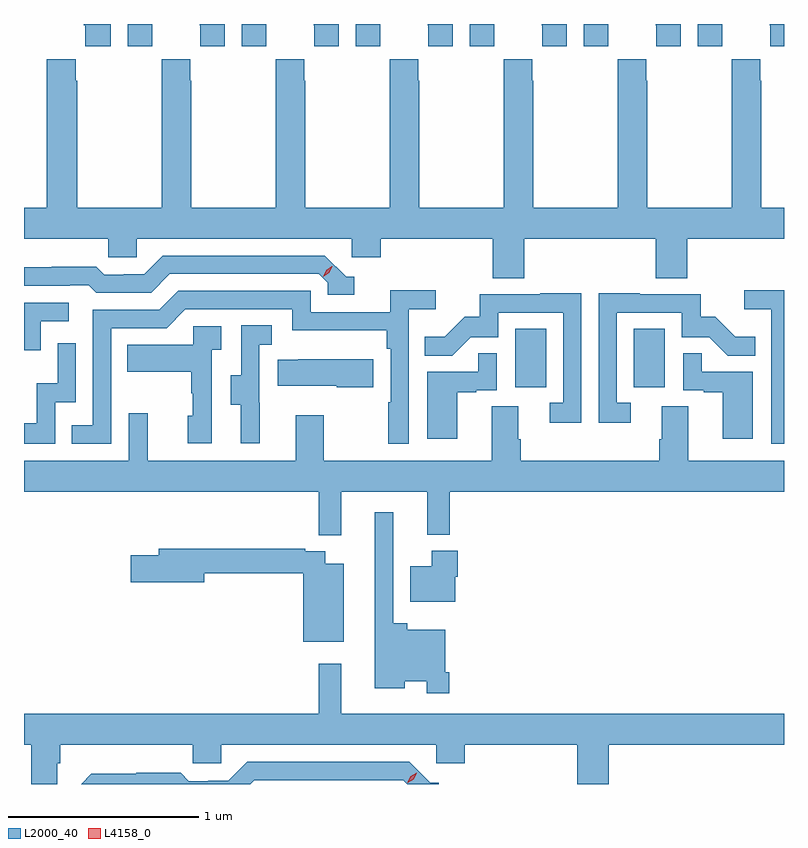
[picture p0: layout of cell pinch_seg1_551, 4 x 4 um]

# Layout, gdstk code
import gdstk
lib = gdstk.Library(unit=1e-6, precision=1e-09)
def R(c, l, rs):  # rectangles x0, y0, x1, y1
    for r in rs: c.add(gdstk.rectangle(r[:2], r[2:], *l))
def P(c, l, *ps):  # polygons
    for p in ps: c.add(gdstk.Polygon(p, *l))
L2000_40 = (2000, 40)
L4158_0 = (4158, 0)

pinch_seg1_551 = lib.new_cell('pinch_seg1_551')
R(pinch_seg1_551, L2000_40, [(1031.384,540.294,1031.548,540.601), (1032.008,540.294,1032.172,540.601)])
P(pinch_seg1_551, L2000_40, [(1032.799,542.206),(1032.725,542.206),(1032.725,542.2),(1032.726,542.2),(1032.726,542.088),(1032.799,542.088)],
  [(1032.474,542.2),(1032.475,542.2),(1032.475,542.206),(1032.344,542.206),(1032.344,542.088),(1032.474,542.088)],
  [(1032.256,542.206),(1032.125,542.206),(1032.125,542.2),(1032.126,542.2),(1032.126,542.088),(1032.256,542.088)],
  [(1031.874,542.2),(1031.875,542.2),(1031.875,542.206),(1031.744,542.206),(1031.744,542.088),(1031.874,542.088)],
  [(1031.656,542.206),(1031.525,542.206),(1031.525,542.2),(1031.526,542.2),(1031.526,542.088),(1031.656,542.088)],
  [(1031.274,542.2),(1031.275,542.2),(1031.275,542.206),(1031.144,542.206),(1031.144,542.088),(1031.274,542.088)],
  [(1031.056,542.206),(1030.925,542.206),(1030.925,542.2),(1030.926,542.2),(1030.926,542.088),(1031.056,542.088)],
  [(1030.674,542.2),(1030.675,542.2),(1030.675,542.206),(1030.544,542.206),(1030.544,542.088),(1030.674,542.088)],
  [(1030.456,542.206),(1030.325,542.206),(1030.325,542.2),(1030.326,542.2),(1030.326,542.088),(1030.456,542.088)],
  [(1029.256,542.206),(1029.113,542.206),(1029.113,542.2),(1029.122,542.2),(1029.122,542.088),(1029.256,542.088)],
  [(1029.474,542.2),(1029.475,542.2),(1029.475,542.206),(1029.344,542.206),(1029.344,542.088),(1029.474,542.088)],
  [(1029.856,542.206),(1029.725,542.206),(1029.725,542.2),(1029.726,542.2),(1029.726,542.088),(1029.856,542.088)],
  [(1030.074,542.2),(1030.075,542.2),(1030.075,542.206),(1029.944,542.206),(1029.944,542.088),(1030.074,542.088)],
  [(1031.432,541.076),(1032.125,541.076),(1032.125,540.868),(1032.29,540.868),(1032.29,541.076),(1032.799,541.076),(1032.799,541.24),(1032.678,541.24),(1032.678,541.907),(1032.675,541.907),(1032.675,542.02),(1032.525,542.02),(1032.525,541.907),(1032.523,541.907),(1032.523,541.24),(1032.078,541.24),(1032.078,541.907),(1032.075,541.907),(1032.075,542.02),(1031.925,542.02),(1031.925,541.907),(1031.923,541.907),(1031.923,541.24),(1031.478,541.24),(1031.478,541.907),(1031.475,541.907),(1031.475,542.02),(1031.325,542.02),(1031.325,541.907),(1031.323,541.907),(1031.323,541.24),(1030.878,541.24),(1030.878,541.907),(1030.875,541.907),(1030.875,542.02),(1030.725,542.02),(1030.725,541.907),(1030.723,541.907),(1030.723,541.24),(1030.278,541.24),(1030.278,541.907),(1030.275,541.907),(1030.275,542.02),(1030.125,542.02),(1030.125,541.907),(1030.123,541.907),(1030.123,541.24),(1029.678,541.24),(1029.678,541.907),(1029.675,541.907),(1029.675,542.02),(1029.525,542.02),(1029.525,541.907),(1029.523,541.907),(1029.523,541.24),(1029.078,541.24),(1029.078,541.907),(1029.071,541.907),(1029.071,542.02),(1028.918,542.02),(1028.918,541.24),(1028.799,541.24),(1028.799,541.076),(1029.243,541.076),(1029.243,540.978),(1029.393,540.978),(1029.393,541.076),(1030.524,541.076),(1030.524,540.978),(1030.676,540.978),(1030.676,541.076),(1031.267,541.076),(1031.267,540.868),(1031.432,540.868)],
  [(1030.537,540.876),(1030.494,540.876),(1030.383,540.987),(1029.53,540.987),(1029.431,540.888),(1029.324,540.888),(1029.324,540.885),(1029.221,540.885),(1029.179,540.928),(1028.946,540.928),(1028.946,540.925),(1028.799,540.925),(1028.799,540.828),(1029.041,540.828),(1029.041,540.831),(1029.14,540.831),(1029.179,540.792),(1029.468,540.792),(1029.567,540.891),(1030.35,540.891),(1030.398,540.843),(1030.398,540.78),(1030.537,540.78)],
  [(1032.799,540.806),(1032.591,540.806),(1032.591,540.704),(1032.732,540.704),(1032.732,539.997),(1032.799,539.997)],
  [(1029.258,540.606),(1029.549,540.606),(1029.648,540.705),(1030.212,540.705),(1030.212,540.593),(1030.708,540.593),(1030.708,540.497),(1030.728,540.497),(1030.728,540.215),(1030.716,540.215),(1030.716,539.997),(1030.824,539.997),(1030.824,540.704),(1030.966,540.704),(1030.966,540.806),(1030.727,540.806),(1030.727,540.69),(1030.308,540.69),(1030.308,540.801),(1029.611,540.801),(1029.512,540.702),(1029.162,540.702),(1029.162,540.093),(1029.049,540.093),(1029.049,539.997),(1029.258,539.997)],
  [(1031.733,540.788),(1031.515,540.788),(1031.515,540.783),(1031.197,540.783),(1031.197,540.666),(1031.12,540.666),(1031.013,540.559),(1030.909,540.559),(1030.909,540.46),(1031.053,540.46),(1031.151,540.558),(1031.295,540.558),(1031.295,540.687),(1031.637,540.687),(1031.637,540.213),(1031.565,540.213),(1031.565,540.108),(1031.733,540.108)],
  [(1031.992,540.213),(1031.919,540.213),(1031.919,540.687),(1032.261,540.687),(1032.261,540.558),(1032.405,540.558),(1032.503,540.46),(1032.647,540.46),(1032.647,540.559),(1032.543,540.559),(1032.436,540.666),(1032.36,540.666),(1032.36,540.783),(1032.041,540.783),(1032.041,540.788),(1031.823,540.788),(1031.823,540.108),(1031.992,540.108)],
  [(1028.886,540.642),(1029.034,540.642),(1029.034,540.738),(1028.799,540.738),(1028.799,540.489),(1028.886,540.489)],
  [(1030.04,540.213),(1030.038,540.213),(1030.038,540.517),(1030.102,540.517),(1030.102,540.62),(1029.942,540.62),(1029.942,540.357),(1029.887,540.357),(1029.887,540.202),(1029.941,540.202),(1029.941,540),(1030.04,540)],
  [(1029.786,540.491),(1029.838,540.491),(1029.838,540.615),(1029.69,540.615),(1029.69,540.517),(1029.343,540.517),(1029.343,540.377),(1029.678,540.377),(1029.678,540.263),(1029.688,540.263),(1029.688,540.144),(1029.662,540.144),(1029.662,540),(1029.786,540)],
  [(1028.964,540.216),(1029.072,540.216),(1029.072,540.526),(1028.976,540.526),(1028.976,540.314),(1028.867,540.314),(1028.867,540.106),(1028.799,540.106),(1028.799,539.997),(1028.964,539.997)],
  [(1032.634,540.375),(1032.365,540.375),(1032.365,540.473),(1032.27,540.473),(1032.27,540.279),(1032.377,540.279),(1032.377,540.267),(1032.476,540.267),(1032.476,540.024),(1032.634,540.024)],
  [(1031.08,540.267),(1031.18,540.267),(1031.18,540.279),(1031.286,540.279),(1031.286,540.473),(1031.191,540.473),(1031.191,540.375),(1030.922,540.375),(1030.922,540.024),(1031.08,540.024)],
  [(1030.636,540.442),(1030.243,540.442),(1030.243,540.439),(1030.135,540.439),(1030.135,540.302),(1030.445,540.302),(1030.445,540.295),(1030.636,540.295)],
  [(1030.469,539.744),(1030.922,539.744),(1030.922,539.519),(1031.039,539.519),(1031.039,539.744),(1032.799,539.744),(1032.799,539.908),(1032.295,539.908),(1032.295,540.194),(1032.155,540.194),(1032.155,540.02),(1032.143,540.02),(1032.143,539.908),(1031.414,539.908),(1031.414,540.02),(1031.401,540.02),(1031.401,540.194),(1031.261,540.194),(1031.261,539.908),(1030.377,539.908),(1030.377,540.148),(1030.229,540.148),(1030.229,539.908),(1029.449,539.908),(1029.449,540.157),(1029.351,540.157),(1029.351,539.908),(1028.799,539.908),(1028.799,539.744),(1030.351,539.744),(1030.351,539.515),(1030.469,539.515)],
  [(1031.036,538.795),(1031.016,538.795),(1031.016,539.017),(1030.817,539.017),(1030.817,539.053),(1030.743,539.053),(1030.743,539.635),(1030.646,539.635),(1030.646,538.709),(1030.804,538.709),(1030.804,538.748),(1030.92,538.748),(1030.92,538.683),(1031.036,538.683)],
  [(1030.483,539.365),(1030.384,539.365),(1030.384,539.43),(1030.28,539.43),(1030.28,539.443),(1029.509,539.443),(1029.509,539.409),(1029.36,539.409),(1029.36,539.267),(1029.748,539.267),(1029.748,539.314),(1030.268,539.314),(1030.268,538.955),(1030.483,538.955)],
  [(1031.068,539.298),(1031.081,539.298),(1031.081,539.434),(1030.946,539.434),(1030.946,539.353),(1030.832,539.353),(1030.832,539.165),(1031.068,539.165)],
  [(1028.975,538.314),(1028.99,538.314),(1028.99,538.412),(1029.687,538.412),(1029.687,538.314),(1029.837,538.314),(1029.837,538.412),(1030.968,538.412),(1030.968,538.314),(1031.12,538.314),(1031.12,538.412),(1031.711,538.412),(1031.711,538.206),(1031.876,538.206),(1031.876,538.412),(1032.799,538.412),(1032.799,538.576),(1030.468,538.576),(1030.468,538.84),(1030.351,538.84),(1030.351,538.576),(1028.799,538.576),(1028.799,538.412),(1028.838,538.412),(1028.838,538.206),(1028.975,538.206)],
  [(1030.011,538.227),(1030.794,538.227),(1030.815,538.206),(1030.981,538.206),(1030.981,538.212),(1030.938,538.212),(1030.827,538.323),(1029.974,538.323),(1029.875,538.224),(1029.768,538.224),(1029.768,538.221),(1029.665,538.221),(1029.623,538.264),(1029.39,538.264),(1029.39,538.261),(1029.154,538.261),(1029.099,538.206),(1029.99,538.206)])
P(pinch_seg1_551, L4158_0, [(1030.374,540.877),(1030.374,540.877),(1030.39,540.91),(1030.42,540.93),(1030.421,540.93),(1030.421,540.93),(1030.405,540.897),(1030.374,540.877)],
  [(1030.817,538.213),(1030.817,538.213),(1030.834,538.246),(1030.865,538.265),(1030.866,538.265),(1030.866,538.265),(1030.849,538.232),(1030.818,538.213)])

lib.write_gds('pinch_seg1_551.gds')
